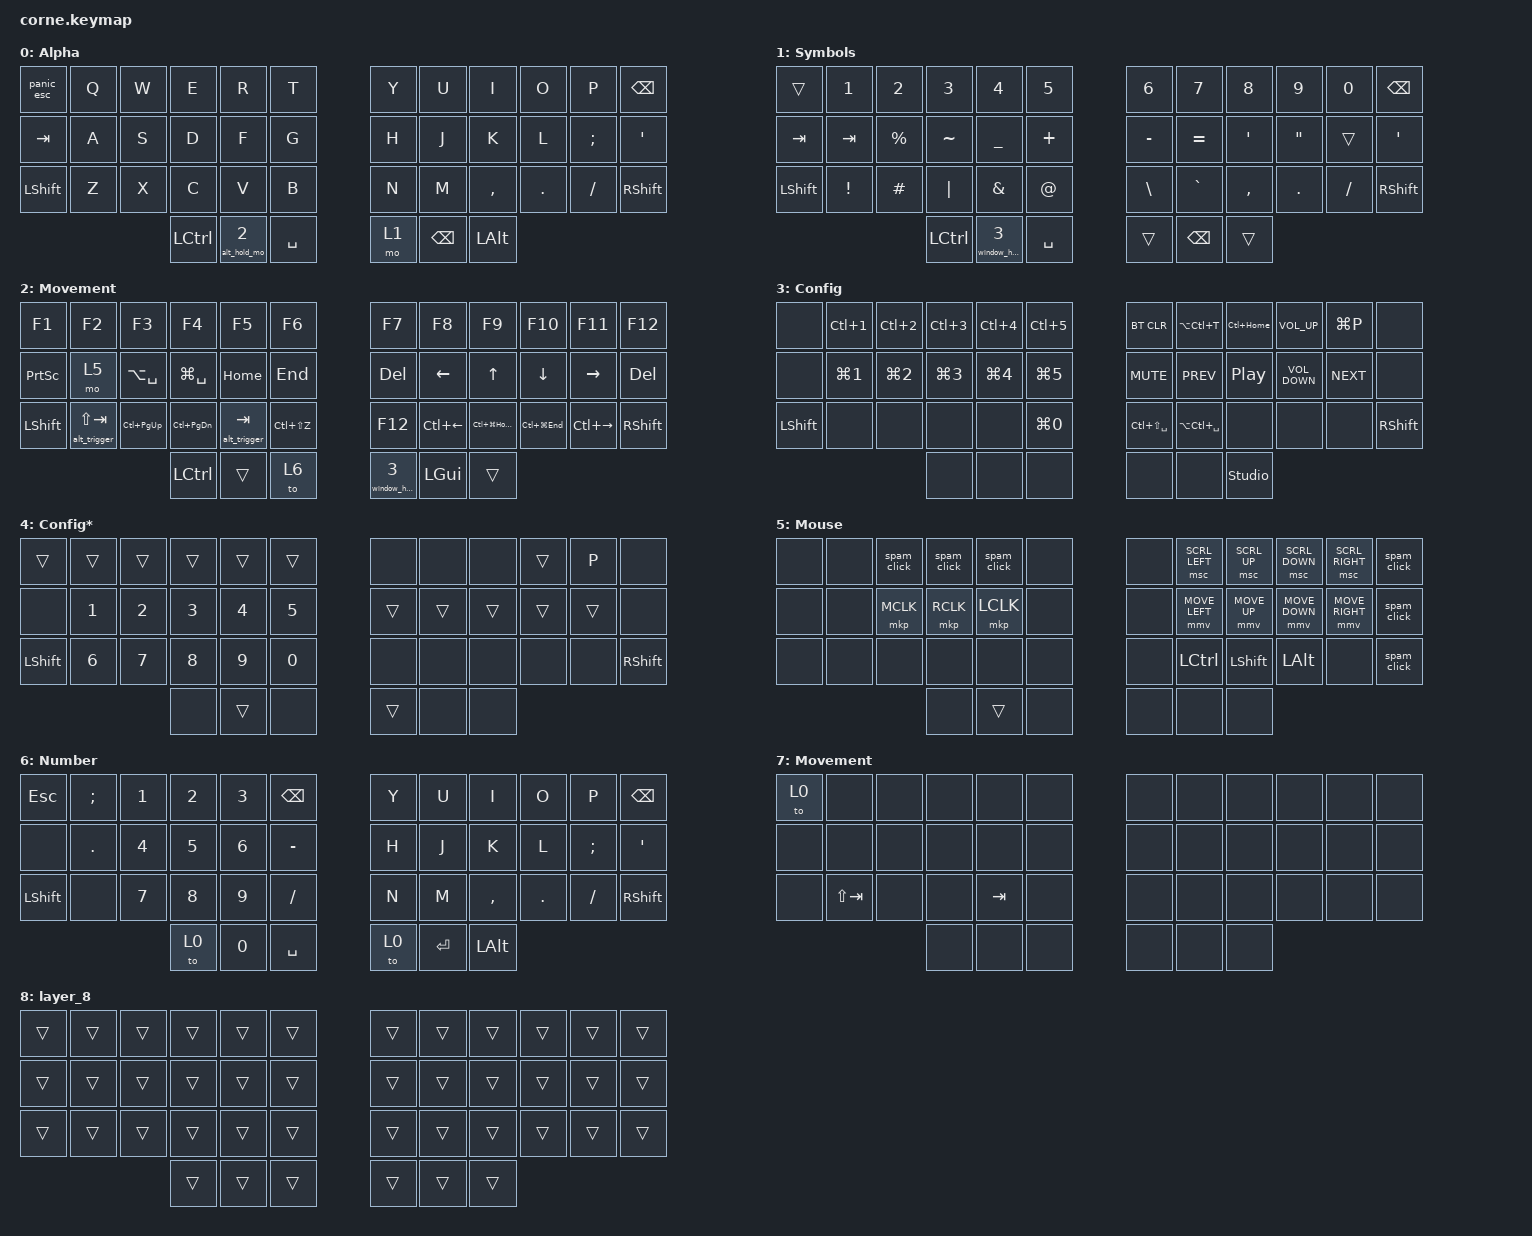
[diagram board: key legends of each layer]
/*
 * Copyright (c) 2020 The ZMK Contributors
 *
 * SPDX-License-Identifier: MIT
 */

#define ZMK_POINTING_DEFAULT_MOVE_VAL 1800
#define ZMK_POINTING_DEFAULT_SCRL_VAL 25

#include <behaviors.dtsi>
#include <dt-bindings/zmk/bt.h>
#include <dt-bindings/zmk/keys.h>
#include <dt-bindings/zmk/pointing.h>

/ {
    combos {
        compatible = "zmk,combos";

        capslock {
            bindings = <&kp CAPSLOCK>;
            key-positions = <24 35>;
            layers = <0>;
            require-prior-idle-ms = <1>;
        };

        left_bracket {
            bindings = <&kp LEFT_PARENTHESIS>;
            key-positions = <15 16>;
            layers = <0 1>;
            require-prior-idle-ms = <1>;
        };

        right_bracket {
            bindings = <&kp RIGHT_PARENTHESIS>;
            key-positions = <19 20>;
            layers = <0 1>;
            require-prior-idle-ms = <1>;
        };

        left_curly {
            bindings = <&kp LEFT_BRACE>;
            key-positions = <15 14>;
            layers = <0 1>;
            require-prior-idle-ms = <1>;
        };

        right_curly {
            bindings = <&kp RIGHT_BRACE>;
            key-positions = <20 21>;
            layers = <0 1>;
            require-prior-idle-ms = <1>;
        };

        bt_sel_0 {
            bindings = <&bt BT_SEL 0>;
            key-positions = <18 19>;
            layers = <3 4>;
        };

        bt_sel_1 {
            bindings = <&bt BT_SEL 1>;
            key-positions = <19 20>;
            layers = <3 4>;
        };

        bt_sel_2 {
            bindings = <&bt BT_SEL 2>;
            key-positions = <20 21>;
            layers = <3 4>;
        };

        bt_sel_3 {
            bindings = <&bt BT_SEL 3>;
            key-positions = <21 22>;
            layers = <3 4>;
        };

        bt_sel_4 {
            bindings = <&bt BT_SEL 4>;
            key-positions = <22 23>;
            layers = <3 4>;
        };

        panic_esc_combo {
            bindings = <&panic_esc>;
            key-positions = <1 2>;
            require-prior-idle-ms = <1>;
            layers = <0 2 1>;
        };

        enter_combo_right {
            bindings = <&kp ENTER>;
            key-positions = <19 20 21>;
            layers = <0 1>;
            require-prior-idle-ms = <1>;
        };

        caret_combo {
            bindings = <&kp CARET>;
            key-positions = <28 27>;
            layers = <1>;
            require-prior-idle-ms = <1>;
        };

        asterisk_combo {
            bindings = <&kp STAR>;
            key-positions = <27 26>;
            layers = <1>;
            require-prior-idle-ms = <1>;
        };

        enter_combo_left {
            bindings = <&kp ENTER>;
            key-positions = <14 15 16>;
            layers = <0 1>;
            require-prior-idle-ms = <1>;
        };

        dollar_combo {
            bindings = <&kp DOLLAR>;
            key-positions = <13 14>;
            layers = <1>;
            require-prior-idle-ms = <1>;
        };

        test_left_square {
            bindings = <&kp LEFT_BRACKET>;
            key-positions = <14 16>;
            layers = <0 1>;
            require-prior-idle-ms = <1>;
        };

        test_right_square {
            bindings = <&kp RIGHT_BRACKET>;
            key-positions = <21 19>;
            layers = <0 1>;
            require-prior-idle-ms = <1>;
        };

        screen_capture_combo {
            bindings = <&kp PRINTSCREEN>;
            key-positions = <26 27 28>;
        };

        ctrl_6 {
            bindings = <&kp LC(NUMBER_6)>;
            key-positions = <1 2>;
            layers = <3>;
            require-prior-idle-ms = <1>;
        };

        ctrl_7 {
            bindings = <&kp LC(N7)>;
            key-positions = <2 3>;
            require-prior-idle-ms = <1>;
            layers = <3>;
        };

        ctrl_8 {
            bindings = <&kp LC(N8)>;
            key-positions = <3 4>;
            require-prior-idle-ms = <1>;
            layers = <3>;
        };

        ctrl_9 {
            bindings = <&kp LC(N9)>;
            key-positions = <4 5>;
            require-prior-idle-ms = <1>;
            layers = <3>;
        };

        win_6 {
            bindings = <&kp LG(NUMBER_6)>;
            key-positions = <13 14>;
            require-prior-idle-ms = <1>;
            layers = <3>;
        };

        win_7 {
            bindings = <&kp LG(N7)>;
            key-positions = <14 15>;
            require-prior-idle-ms = <1>;
            layers = <3>;
        };

        win_8 {
            bindings = <&kp LG(N8)>;
            key-positions = <15 16>;
            require-prior-idle-ms = <1>;
            layers = <3>;
        };

        win_9 {
            bindings = <&kp LG(N9)>;
            key-positions = <16 17>;
            require-prior-idle-ms = <1>;
            layers = <3>;
        };
    };

    macros {
        window_hold_mo: custom_mo_3 {
            compatible = "zmk,behavior-macro-one-param";
            #binding-cells = <1>;
            bindings =
                <&macro_param_1to1>,
                <&macro_press>,
                <&mo MACRO_PLACEHOLDER &macro_param_1to1>,
                <&macro_pause_for_release>,
                <&macro_release>,
                <&mo MACRO_PLACEHOLDER &kp RGUI &mo 4>;

            label = "CUSTOM_MO_3";
        };

        window_switch_trigger: window_switch_1 {
            compatible = "zmk,behavior-macro-one-param";
            #binding-cells = <1>;
            bindings =
                <&macro_press>,
                <&kp RGUI &macro_param_1to1>,
                <&macro_tap>,
                <&kp MACRO_PLACEHOLDER>,
                <&macro_press>,
                <&mo 4>;

            label = "WINDOW_SWITCH_1";
        };

        alt_hold_mo: alt_hold_mo {
            compatible = "zmk,behavior-macro-one-param";
            #binding-cells = <1>;
            bindings =
                <&macro_param_1to1>,
                <&macro_press>,
                <&mo MACRO_PLACEHOLDER &macro_param_1to1>,
                <&macro_pause_for_release>,
                <&macro_release>,
                <&mo MACRO_PLACEHOLDER &kp RIGHT_ALT &mo 7>;

            label = "ALT_HOLD_MO";
        };

        alt_trigger: alt_trigger {
            compatible = "zmk,behavior-macro-one-param";
            #binding-cells = <1>;
            bindings =
                <&macro_press>,
                <&kp RIGHT_ALT &macro_param_1to1>,
                <&macro_tap>,
                <&kp MACRO_PLACEHOLDER>,
                <&macro_press>,
                <&mo 7>;

            label = "ALT_TRIGGER";
        };

        panic_esc: master_esc {
            compatible = "zmk,behavior-macro";
            #binding-cells = <0>;
            bindings =
                <&macro_release>,
                <&kp RIGHT_GUI &kp RIGHT_ALT>,
                <&macro_tap>,
                <&kp ESCAPE &kp F24>;

            label = "MASTER_ESC";
        };

        spam_click: spam_click {
            compatible = "zmk,behavior-macro";
            #binding-cells = <0>;
            bindings = <&macro_tap>, <&mkp LCLK>, <&macro_release>, <&mkp LCLK>;

            label = "SPAM_CLICK";
        };
    };

    keymap {
        compatible = "zmk,keymap";

        default_layer {
            // -----------------------------------------------------------------------------------------
            // |  TAB |  Q  |  W  |  E  |  R  |  T  |   |  Y  |  U   |  I  |  O  |  P  | BKSP |
            // | CTRL |  A  |  S  |  D  |  F  |  G  |   |  H  |  J   |  K  |  L  |  ;  |  '   |
            // | SHFT |  Z  |  X  |  C  |  V  |  B  |   |  N  |  M   |  ,  |  .  |  /  | ESC  |
            //                    | GUI | LWR | SPC |   | ENT | RSE  | ALT |

            display-name = "Alpha";
            bindings = <
&panic_esc  &kp Q  &kp W  &kp E      &kp R           &kp T        &kp Y  &kp U          &kp I         &kp O    &kp P     &kp BSPC
&kp TAB     &kp A  &kp S  &kp D      &kp F           &kp G        &kp H  &kp J          &kp K         &kp L    &kp SEMI  &kp SQT
&kp LSHFT   &kp Z  &kp X  &kp C      &kp V           &kp B        &kp N  &kp M          &kp COMMA     &kp DOT  &kp FSLH  &kp RIGHT_SHIFT
                          &kp LCTRL  &alt_hold_mo 2  &kp SPACE    &mo 1  &kp BACKSPACE  &kp LEFT_ALT
            >;

            label = "Alpha";
        };

        lower_layer {
            // -----------------------------------------------------------------------------------------
            // |  TAB |  1  |  2  |  3  |  4  |  5  |   |  6  |  7  |  8  |  9  |  0  | BKSP |
            // | BTCLR| BT1 | BT2 | BT3 | BT4 | BT5 |   | LFT | DWN |  UP | RGT |     |      |
            // | SHFT |     |     |     |     |     |   |     |     |     |     |     |      |
            //                    | GUI |     | SPC |   | ENT |     | ALT |

            display-name = "Symbols";
            bindings = <
&trans     &kp N1           &kp N2       &kp N3     &kp N4             &kp N5         &kp N6     &kp N7         &kp N8            &kp N9   &kp N0    &kp BSPC
&kp TAB    &kp TAB          &kp PERCENT  &kp TILDE  &kp UNDER          &kp PLUS       &kp MINUS  &kp EQUAL      &kp SINGLE_QUOTE  &kp DQT  &trans    &kp SQT
&kp LSHFT  &kp EXCLAMATION  &kp HASH     &kp PIPE   &kp AMPERSAND      &kp AT_SIGN    &kp BSLH   &kp GRAVE      &kp COMMA         &kp DOT  &kp FSLH  &kp RSHFT
                                         &kp LCTRL  &window_hold_mo 3  &kp SPACE      &trans     &kp BACKSPACE  &trans
            >;
        };

        raise_layer {
            // -----------------------------------------------------------------------------------------
            // |  TAB |  !  |  @  |  #  |  $  |  %  |   |  ^  |  &  |  *  |  (  |  )  | BKSP |
            // | CTRL |     |     |     |     |     |   |  -  |  =  |  [  |  ]  |  \  |  `   |
            // | SHFT |     |     |     |     |     |   |  _  |  +  |  {  |  }  | "|" |  ~   |
            //                    | GUI |     | SPC |   | ENT |     | ALT |

            display-name = "Movement";
            bindings = <
&kp F1          &kp F2                &kp F3         &kp F4             &kp F5            &kp F6           &kp F7             &kp F8              &kp F9            &kp F10          &kp F11              &kp F12
&kp PSCRN       &mo 5                 &kp LA(SPACE)  &kp LG(SPACE)      &kp HOME          &kp END          &kp DELETE         &kp LEFT            &kp UP            &kp DOWN         &kp RIGHT            &kp DEL
&kp LEFT_SHIFT  &alt_trigger LS(TAB)  &kp LC(PG_UP)  &kp LC(PAGE_DOWN)  &alt_trigger TAB  &kp LC(LS(Z))    &kp F12            &kp LC(LEFT_ARROW)  &kp LC(LG(HOME))  &kp LC(LG(END))  &kp LC(RIGHT_ARROW)  &kp RSHFT
                                                     &kp LEFT_CONTROL   &trans            &to 6            &window_hold_mo 3  &kp LGUI            &trans
            >;
        };

        config_layer {
            bindings = <
&none           &kp LC(NUMBER_1)  &kp LC(NUMBER_2)  &kp LC(NUMBER_3)  &kp LC(NUMBER_4)  &kp LC(N5)    &bt BT_CLR         &kp LA(LC(T))      &kp LC(HOME)      &kp C_VOLUME_UP    &kp LG(P)   &none
&none           &kp LG(N1)        &kp LG(NUMBER_2)  &kp LG(N3)        &kp LG(N4)        &kp LG(N5)    &kp C_MUTE         &kp C_PREV         &kp C_PLAY_PAUSE  &kp C_VOLUME_DOWN  &kp C_NEXT  &none
&kp LEFT_SHIFT  &none             &none             &none             &none             &kp LG(N0)    &kp LC(LS(SPACE))  &kp LA(LC(SPACE))  &none             &none              &none       &kp RIGHT_SHIFT
                                                    &none             &none             &none         &none              &none              &studio_unlock
            >;

            label = "Config";
        };

        second_config {
            label = "Config*";
            bindings = <
&trans          &trans  &trans  &trans  &trans  &trans    &none   &none   &none   &trans  &kp P   &none
&none           &kp N1  &kp N2  &kp N3  &kp N4  &kp N5    &trans  &trans  &trans  &trans  &trans  &none
&kp LEFT_SHIFT  &kp N6  &kp N7  &kp N8  &kp N9  &kp N0    &none   &none   &none   &none   &none   &kp RIGHT_SHIFT
                                &none   &trans  &none     &trans  &none   &none
            >;
        };

        cursor_layer {
            bindings = <
&none  &none  &spam_click  &spam_click  &spam_click  &none    &none  &msc SCRL_LEFT  &msc SCRL_UP    &msc SCRL_DOWN  &msc SCRL_RIGHT  &spam_click
&none  &none  &mkp MCLK    &mkp RCLK    &mkp LCLK    &none    &none  &mmv MOVE_LEFT  &mmv MOVE_UP    &mmv MOVE_DOWN  &mmv MOVE_RIGHT  &spam_click
&none  &none  &none        &none        &none        &none    &none  &kp LCTRL       &kp LEFT_SHIFT  &kp LEFT_ALT    &none            &spam_click
                           &none        &trans       &none    &none  &none           &none
            >;

            label = "Mouse";
        };

        number_layer {
            bindings = <
&kp ESC         &kp SEMI  &kp N1  &kp N2  &kp N3  &kp BSPC     &kp Y  &kp U      &kp I         &kp O    &kp P     &kp BSPC
&none           &kp DOT   &kp N4  &kp N5  &kp N6  &kp MINUS    &kp H  &kp J      &kp K         &kp L    &kp SEMI  &kp SQT
&kp LEFT_SHIFT  &none     &kp N7  &kp N8  &kp N9  &kp FSLH     &kp N  &kp M      &kp COMMA     &kp DOT  &kp FSLH  &kp RSHFT
                                  &to 0   &kp N0  &kp SPACE    &to 0  &kp ENTER  &kp LEFT_ALT
            >;

            label = "Number";
        };

        window_switch {
            bindings = <
&to 0  &none        &none  &none  &none    &none    &none  &none  &none  &none  &none  &none
&none  &none        &none  &none  &none    &none    &none  &none  &none  &none  &none  &none
&none  &kp LS(TAB)  &none  &none  &kp TAB  &none    &none  &none  &none  &none  &none  &none
                           &none  &none    &none    &none  &none  &none
            >;

            label = "Movement";
        };

        layer_8 {
            bindings = <
&trans  &trans  &trans  &trans  &trans  &trans    &trans  &trans  &trans  &trans  &trans  &trans
&trans  &trans  &trans  &trans  &trans  &trans    &trans  &trans  &trans  &trans  &trans  &trans
&trans  &trans  &trans  &trans  &trans  &trans    &trans  &trans  &trans  &trans  &trans  &trans
                        &trans  &trans  &trans    &trans  &trans  &trans
            >;
        };
    };
};
